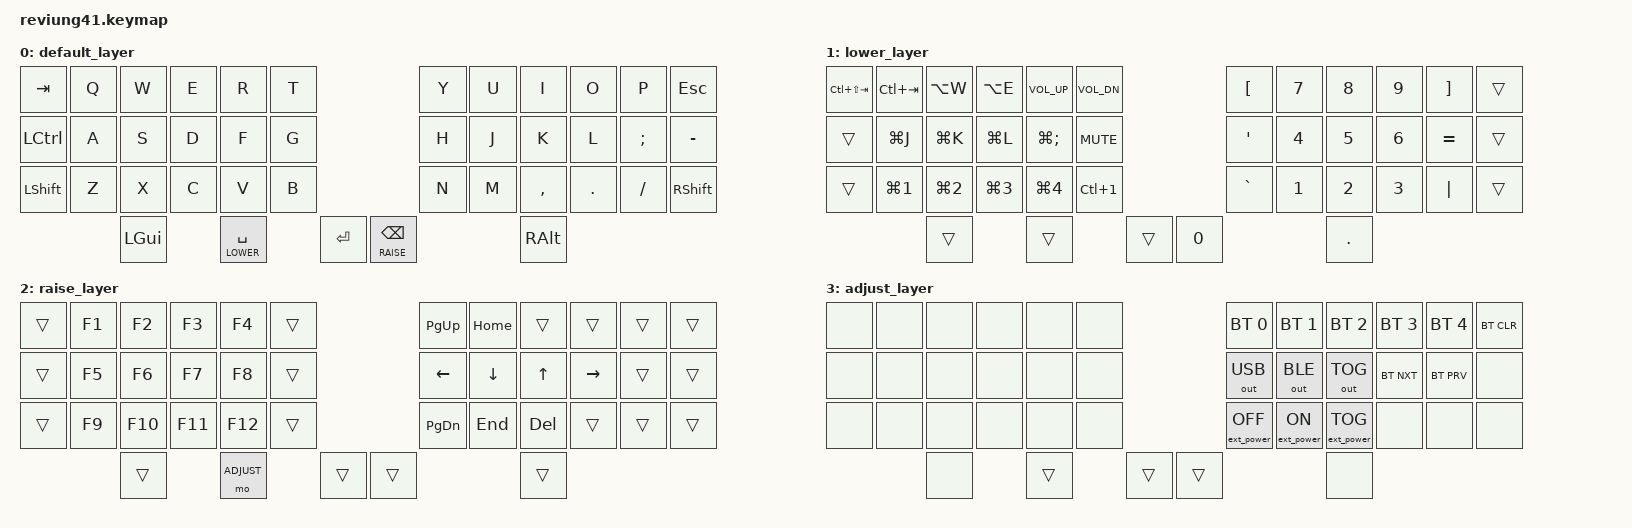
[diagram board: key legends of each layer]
/*
 * Copyright (c) 2020 The ZMK Contributors
 *
 * SPDX-License-Identifier: MIT
 */

#include <behaviors.dtsi>
#include <dt-bindings/zmk/keys.h>
#include <dt-bindings/zmk/bt.h>
#include <dt-bindings/zmk/outputs.h>
#include <dt-bindings/zmk/ext_power.h>

#define DEFAULT 0
#define LOWER   1
#define RAISE   2
#define ADJUST  3

&lt { quick_tap_ms = <200>; };

/ {
        keymap {
                compatible = "zmk,keymap";
                default_layer {
                        bindings = <
   &kp TAB        &kp Q   &kp W &kp E &kp R     &kp T                   &kp Y &kp U  &kp I     &kp O   &kp P    &kp ESC
   &kp LCTRL      &kp A   &kp S &kp D &kp F     &kp G                   &kp H &kp J  &kp K     &kp L   &kp SEMI &kp MINUS
   &kp LSHFT      &kp Z   &kp X &kp C &kp V     &kp B                   &kp N &kp M  &kp COMMA &kp DOT &kp FSLH &kp RSHFT
                            &kp LGUI  &lt LOWER SPACE   &kp RET   &lt RAISE BSPC    &kp RALT
                        >;
                };
                lower_layer {
                        bindings = <
   &kp LC(LS(TAB)) &kp LC(TAB)      &kp LA(W)     &kp LA(E)     &kp K_VOL_UP  &kp K_VOL_DN           &kp LBKT   &kp N7   &kp N8   &kp N9   &kp RBKT   &trans
   &trans          &kp LG(J)        &kp LG(K)     &kp LG(L)     &kp LG(SEMI)  &kp K_MUTE               &kp SQT    &kp N4   &kp N5   &kp N6   &kp EQUAL  &trans
   &trans          &kp LG(N1)       &kp LG(N2)    &kp LG(N3)    &kp LG(N4)    &kp LC(N1)               &kp GRAVE  &kp N1   &kp N2   &kp N3   &kp PIPE   &trans
                                                                &trans        &trans         &trans    &kp N0     &kp DOT
                        >;
                };
                 raise_layer {
                        bindings = <
   &trans  &kp F1 &kp F2  &kp F3  &kp F4  &trans                      &kp PG_UP   &kp HOME  &trans    &trans     &trans   &trans
   &trans  &kp F5 &kp F6  &kp F7  &kp F8  &trans                      &kp LEFT    &kp DOWN  &kp UP    &kp RIGHT  &trans   &trans
   &trans  &kp F9 &kp F10 &kp F11 &kp F12 &trans                      &kp PG_DN   &kp END   &kp DEL   &trans     &trans   &trans
                                  &trans  &mo ADJUST     &trans       &trans      &trans
                        >;
                };
                adjust_layer {
                        bindings = <
   &none  &none   &none   &none  &none  &none              &bt BT_SEL 0       &bt BT_SEL 1        &bt BT_SEL 2        &bt BT_SEL 3   &bt BT_SEL 4   &bt BT_CLR
   &none  &none   &none   &none  &none  &none              &out OUT_USB       &out OUT_BLE        &out OUT_TOG        &bt BT_NXT     &bt BT_PRV     &none
   &none  &none   &none   &none  &none  &none              &ext_power EP_OFF  &ext_power EP_ON    &ext_power EP_TOG   &none          &none          &none
                                 &none  &trans   &trans    &trans             &none
                        >;
                };
        };
};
